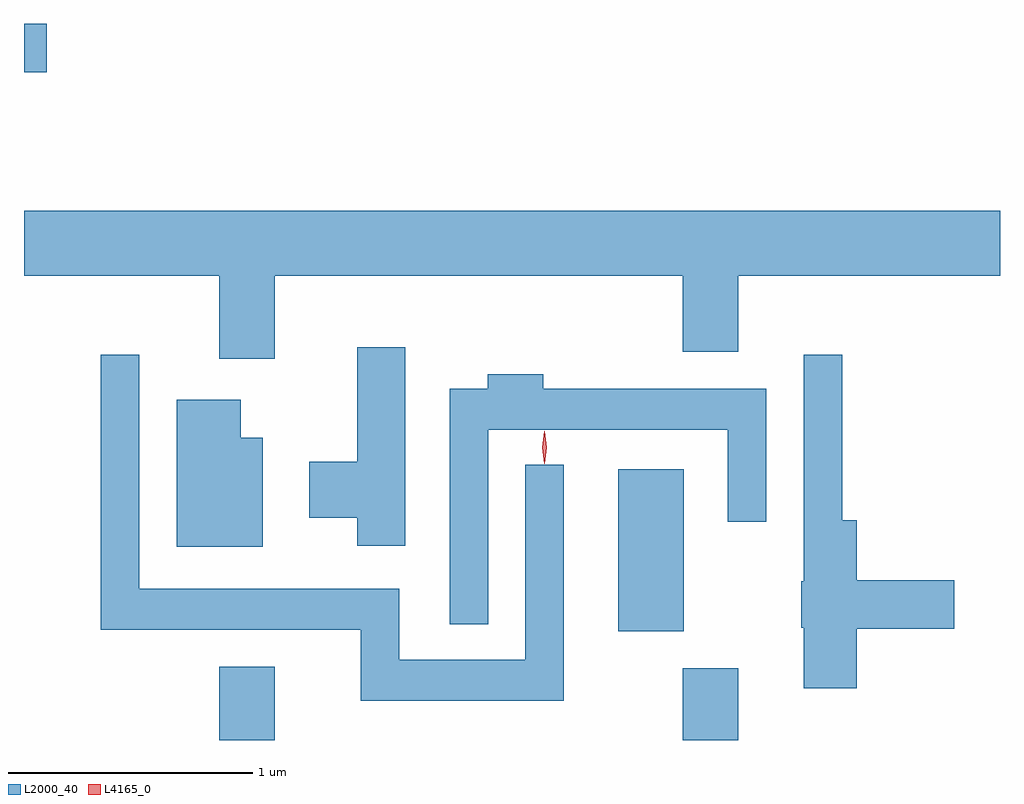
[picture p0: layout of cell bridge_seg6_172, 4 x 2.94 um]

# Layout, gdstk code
import gdstk
lib = gdstk.Library(unit=1e-6, precision=1e-09)
def R(c, l, rs):  # rectangles x0, y0, x1, y1
    for r in rs: c.add(gdstk.rectangle(r[:2], r[2:], *l))
def P(c, l, *ps):  # polygons
    for p in ps: c.add(gdstk.Polygon(p, *l))
L2000_40 = (2000, 40)
L4165_0 = (4165, 0)

bridge_seg6_172 = lib.new_cell('bridge_seg6_172')
R(bridge_seg6_172, L2000_40, [(1078.681,1590.314,1078.909,1590.614), (1080.581,1590.314,1080.809,1590.609), (1080.316,1590.761,1080.584,1591.424), (1077.881,1593.051,1077.974,1593.249)])
P(bridge_seg6_172, L2000_40, [(1078.909,1592.216),(1080.581,1592.216),(1080.581,1591.906),(1080.809,1591.906),(1080.809,1592.216),(1081.881,1592.216),(1081.881,1592.484),(1077.881,1592.484),(1077.881,1592.216),(1078.681,1592.216),(1078.681,1591.876),(1078.909,1591.876)],
  [(1079.444,1591.924),(1079.246,1591.924),(1079.246,1591.454),(1079.051,1591.454),(1079.051,1591.226),(1079.246,1591.226),(1079.246,1591.111),(1079.444,1591.111)],
  [(1081.294,1590.771),(1081.694,1590.771),(1081.694,1590.969),(1081.294,1590.969),(1081.294,1591.214),(1081.234,1591.214),(1081.234,1591.893),(1081.076,1591.893),(1081.076,1590.965),(1081.066,1590.965),(1081.066,1590.775),(1081.076,1590.775),(1081.076,1590.526),(1081.294,1590.526)],
  [(1080.094,1591.443),(1079.936,1591.443),(1079.936,1590.644),(1079.419,1590.644),(1079.419,1590.934),(1078.354,1590.934),(1078.354,1591.893),(1078.196,1591.893),(1078.196,1590.766),(1079.261,1590.766),(1079.261,1590.476),(1080.094,1590.476)],
  [(1079.784,1591.586),(1080.766,1591.586),(1080.766,1591.208),(1080.924,1591.208),(1080.924,1591.754),(1080.009,1591.754),(1080.009,1591.814),(1079.781,1591.814),(1079.781,1591.754),(1079.626,1591.754),(1079.626,1590.788),(1079.784,1590.788)],
  [(1078.859,1591.554),(1078.769,1591.554),(1078.769,1591.709),(1078.506,1591.709),(1078.506,1591.106),(1078.859,1591.106)])
P(bridge_seg6_172, L4165_0, [(1080.014,1591.447),(1080.004,1591.514),(1080.014,1591.58),(1080.014,1591.58),(1080.015,1591.58),(1080.024,1591.514),(1080.015,1591.447),(1080.015,1591.447)])

lib.write_gds('bridge_seg6_172.gds')
